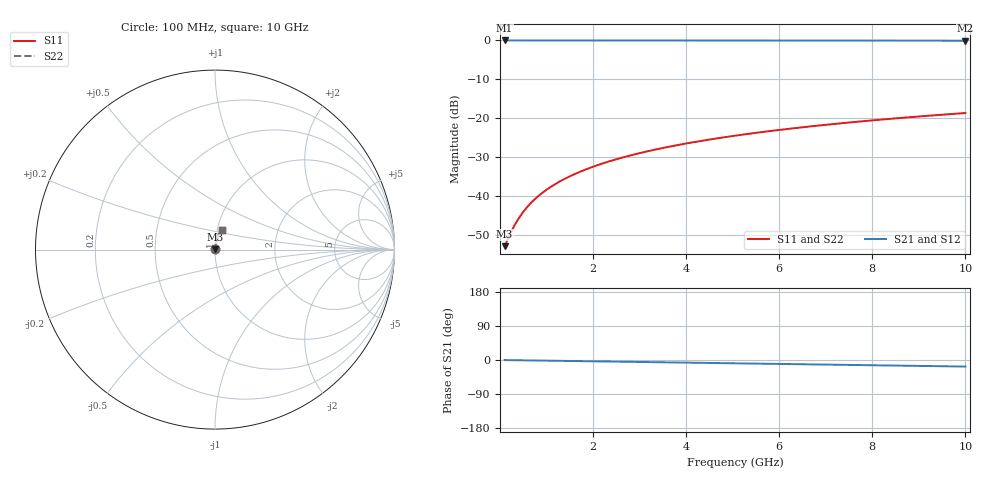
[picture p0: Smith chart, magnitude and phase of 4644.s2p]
# Hz S RI R 50.00
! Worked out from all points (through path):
!   100 points, 100 MHz to 10 GHz, reference 50 ohm
!   highest |S21| = -0.02 dB at 100 MHz (marker M1); lowest = -0.1 dB at 10 GHz (marker M2)
!   group delay of S21, straight-line fit = 4.81 ps
!   lowest |S11| = -53.0 dB at 100 MHz (marker M3), VSWR 1.00, Z = 50.2 + j0.118 ohm
!   |S11| at or under -10 dB: start of sweep to end of sweep
!   |S22| runs from -53.0 to -18.7 dB; largest |S21 - S12| = 0
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1e8  0.00191 0.00117  0.9981 -0.00301  0.9981 -0.00301  0.00191 0.00117
2e8  0.00194 0.00234  0.9981 -0.00602  0.9981 -0.00602  0.00194 0.00234
3e8  0.00196 0.00352  0.998 -0.00903  0.998 -0.00903  0.00196 0.00352
4e8  0.00199 0.00469  0.998 -0.012  0.998 -0.012  0.00199 0.00469
5e8  0.00203 0.00586  0.9979 -0.0151  0.9979 -0.0151  0.00203 0.00586
6e8  0.00207 0.00703  0.9979 -0.0181  0.9979 -0.0181  0.00207 0.00703
7e8  0.00213 0.0082  0.9978 -0.0211  0.9978 -0.0211  0.00213 0.0082
9e8  0.00225 0.0105  0.9976 -0.0271  0.9976 -0.0271  0.00225 0.0105
1e9  0.00232 0.0117  0.9975 -0.0301  0.9975 -0.0301  0.00232 0.0117
1.2e9  0.00248 0.0141  0.9973 -0.0361  0.9973 -0.0361  0.00248 0.0141
1.5e9  0.00277 0.0176  0.9968 -0.0451  0.9968 -0.0451  0.00277 0.0176
1.8e9  0.00313 0.0211  0.9963 -0.0542  0.9963 -0.0542  0.00313 0.0211
2.1e9  0.00355 0.0245  0.9957 -0.0632  0.9957 -0.0632  0.00355 0.0245
2.5e9  0.00421 0.0292  0.9947 -0.0752  0.9947 -0.0752  0.00421 0.0292
2.9e9  0.00497 0.0338  0.9935 -0.0872  0.9935 -0.0872  0.00497 0.0338
3.4e9  0.00609 0.0396  0.9919 -0.1022  0.9919 -0.1022  0.00609 0.0396
4.2e9  0.00824 0.0487  0.9887 -0.126  0.9887 -0.126  0.00824 0.0487
5.1e9  0.0112 0.0588  0.9843 -0.1528  0.9843 -0.1528  0.0112 0.0588
5.9e9  0.0142 0.0677  0.9797 -0.1764  0.9797 -0.1764  0.0142 0.0677
6.7e9  0.0177 0.0764  0.9745 -0.1999  0.9745 -0.1999  0.0177 0.0764
8.4e9  0.0266 0.0943  0.9612 -0.2493  0.9612 -0.2493  0.0266 0.0943
1e10  0.0365 0.1102  0.9461 -0.2948  0.9461 -0.2948  0.0365 0.1102
